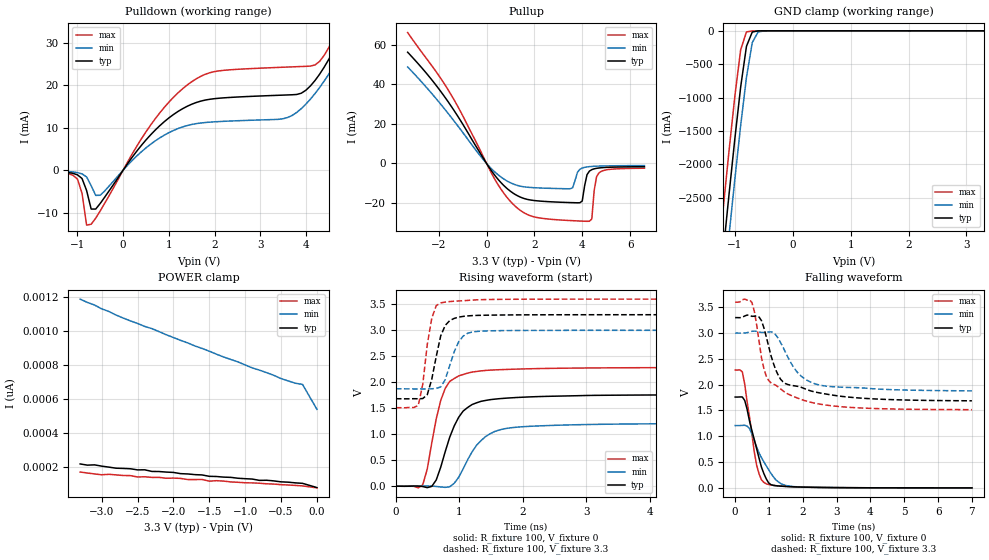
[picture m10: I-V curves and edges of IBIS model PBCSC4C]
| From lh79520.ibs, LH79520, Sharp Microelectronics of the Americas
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[Model]   PBCSC4C
Model_type I/O
Enable Active-High
Polarity Non-Inverting
Vinh=2.0
Vinl=0.8
Vmeas=1.65
C_comp   3.0pF   3.0pF   3.0pF
[Model Spec]
[Temperature Range] 25   85   -40
[Voltage Range]   3.3   3.0   3.6
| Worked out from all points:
|   slope of the pulldown table from 0 to 0.495 V, typ, clamps not added: 70.3 ohm
|   slope of the pullup table from 0 to 0.495 V, typ, clamps not added: 60.2 ohm
|   GND clamp passes 1 mA (typ) near -0.59 V on its own axis
|   falling waveform, R_fixture 100, V_fixture 0: 20-80 % time 417ps typ, 561ps min, 310ps max; typ from 1.76 V to 0 V
|   falling waveform, R_fixture 100, V_fixture 3.3: 20-80 % time 632ps typ, 707ps min, 686ps max; typ from 3.3 V to 1.69 V
|   rising waveform, R_fixture 100, V_fixture 0: 20-80 % time 335ps typ, 408ps min, 248ps max; typ from 0 V to 1.76 V
|   rising waveform, R_fixture 100, V_fixture 3.3: 20-80 % time 182ps typ, 197ps min, 140ps max; typ from 1.68 V to 3.3 V
[Pullup]
-3.3V     56.17mA    48.7mA     66.08mA
-1.5V     29.26mA    23.61mA    35.02mA
200mV     -3.631mA   -2.618mA   -4.804mA
1.6V      -17.8mA    -11.84mA   -25.12mA
3.5V      -19.74mA   -12.74mA   -28.82mA
3.9V      -19.83mA   -2.963mA   -29.05mA
4V        -18.94mA   -2.305mA   -29.11mA
4.3V      -3.869mA   -1.601mA   -29.17mA
4.4V      -3.107mA   -1.5mA     -28.03mA
4.5V      -2.698mA   -1.425mA   -13.57mA
4.7V      -2.275mA   -1.32mA    -4.747mA
6.6V      -1.635mA   -1.057mA   -2.394mA
[Pulldown]
-3.3V     -79uA      -52uA      -100uA
-1.1V     -749.9uA   -423uA     -1.208mA
-800mV    -4.793mA   -1.596mA   -12.93mA
-700mV    -9.162mA   -3.662mA   -12.73mA
-500mV    -7.808mA   -5.906mA   -9.564mA
600mV     8.295mA    6.091mA    10.59mA
1.6V      15.92mA    10.95mA    21.49mA
3.6V      17.7mA     12.39mA    24.26mA
4.2V      21.1mA     18.03mA    24.76mA
4.7V      30.15mA    26.07mA    33.33mA
5.1V      39.82mA    33.95mA    44.95mA
6.6V      86.97mA    70.18mA    105.6mA
[GND Clamp]
-3.3V     -22.33A    -22.9A     -21.74A
-1.3V     -4.165A    -4.777A    -3.514A
-1.2V     -3.293A    -3.906A    -2.639A
-1.1V     -2.437A    -3.049A    -1.785A
-1V       -1.608A    -2.213A    -971.6mA
-900mV    -838.5mA   -1.415A    -282.7mA
-800mV    -231.2mA   -694.6mA   -16.39mA
-700mV    -18.3mA    -177.3mA   -2.444mA
-600mV    -1.112mA   -18.02mA   -425.1uA
-400mV    -3.806uA   -62.61uA   -948.1nA
3.3V      77.72pA    691.2pA    69.74pA
[POWER Clamp]
-3.3V     216.2pA    1.186nA    168.5pA
-3V       203.2pA    1.129nA    152.4pA
-2.7V     189.7pA    1.075nA    148pA
-2.5V     181.1pA    1.043nA    139.4pA
-1.9V     159pA      943.7pA    131pA
-1.8V     157.2pA    928.4pA    124.1pA
-1.6V     151.3pA    896.1pA    124.7pA
-1.5V     143.3pA    879.7pA    114.8pA
-1.3V     138.5pA    845.6pA    115.2pA
-500mV    110.8pA    718.5pA    94.09pA
-200mV    101.9pA    684.1pA    86.8pA
0V        76.99pA    537.5pA    75.32pA
[Falling Waveform]
R_fixture=100
V_fixture=0
V_fixture_min=0
V_fixture_max=0
0s        1.76V      1.207V     2.284V
212.1ps   1.762V     1.211V     2.247V
282.8ps   1.694V     1.213V     2.009V
424.2ps   1.294V     1.148V     1.373V
636.4ps   754.5mV    790.8mV    435.7mV
777.8ps   400.9mV    584.8mV    155mV
919.2ps   174.8mV    427.5mV    78.25mV
1.202ns   41.53mV    155.8mV    42.94mV
1.626ns   23.31mV    30.68mV    22.77mV
7ns       76.27uV    73.86uV    90.58uV
[Falling Waveform]
R_fixture=100
V_fixture=3.3
V_fixture_min=3.0
V_fixture_max=3.6
0s        3.3V       3V         3.6V
494.9ps   3.325V     3.035V     3.594V
707.1ps   3.31V      3.022V     2.839V
848.5ps   3.104V     3.012V     2.314V
989.9ps   2.745V     3.023V     2.082V
1.273ns   2.185V     2.899V     1.956V
1.626ns   1.991V     2.45V      1.799V
1.98ns    1.942V     2.15V      1.708V
2.616ns   1.827V     1.979V     1.611V
7ns       1.687V     1.88V      1.516V
[Rising Waveform]
R_fixture=100
V_fixture=0
V_fixture_min=0
V_fixture_max=0
0s        0V         0V         0V
424.2ps   -6.507mV   2.278mV    28.09mV
494.9ps   -27.49mV   3.504mV    330.7mV
636.4ps   120.2mV    -4.278mV   1.296V
777.8ps   665.3mV    -22.24mV   1.882V
919.2ps   1.159V     56.02mV    2.072V
1.131ns   1.515V     509.8mV    2.176V
1.414ns   1.651V     955.5mV    2.228V
1.838ns   1.702V     1.128V     2.251V
7ns       1.76V      1.207V     2.284V
[Rising Waveform]
R_fixture=100
V_fixture=3.3
V_fixture_min=3.0
V_fixture_max=3.6
0s        1.683V     1.874V     1.511V
353.5ps   1.682V     1.872V     1.555V
424.2ps   1.687V     1.872V     1.961V
494.9ps   1.761V     1.872V     2.725V
565.7ps   2.056V     1.874V     3.23V
707.1ps   2.894V     1.911V     3.528V
848.5ps   3.187V     2.32V      3.553V
989.9ps   3.254V     2.781V     3.564V
1.202ns   3.283V     2.966V     3.581V
7ns       3.3V       3V         3.6V
[Ramp]
R_load=100
dV/dt_r   1.056E+0/3.310E-10   7.242E-1/4.066E-10   1.371E+0/2.459E-10
dV/dt_f   9.676E-1/6.285E-10   6.723E-1/7.038E-10   1.250E+0/6.839E-10
|[End   PBCSC4C
